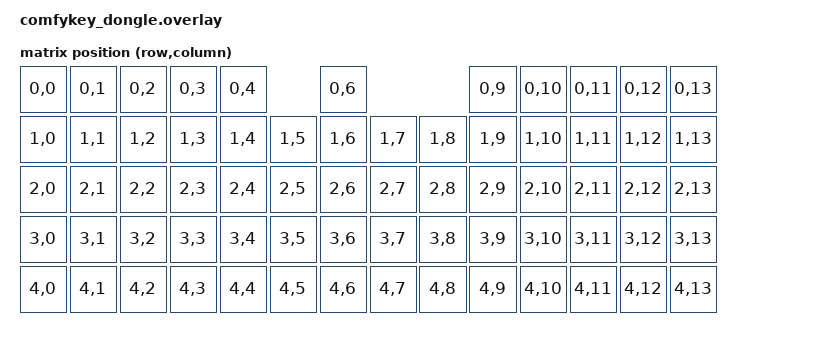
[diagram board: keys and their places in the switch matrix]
#include <dt-bindings/zmk/matrix_transform.h>
#include <physical_layouts.dtsi>

/ {
    chosen {
        zmk,kscan = &mock_kscan;
        zmk,physical-layout = &physical_layout0;
    };

    mock_kscan: kscan_0 {
        compatible = "zmk,kscan-mock";
        columns = <0>;
        rows = <0>;
        events = <0>;
    };

    default_transform: keymap_transform_0 {
        compatible = "zmk,matrix-transform";
        columns = <14>;
        rows = <5>;
// | SW1  | SW2  | SW3  | SW4  | SW5  | SW6  |                     | SW6  | SW5  | SW4  | SW3  | SW2  | SW1  |
// | SW7  | SW8  | SW9  | SW10 | SW11 | SW12 | SW13 |       | SW13 | SW12 | SW11 | SW10 | SW9  | SW8  | SW7  |
// | SW14 | SW15 | SW16 | SW17 | SW18 | SW19 | SW20 |       | SW20 | SW19 | SW18 | SW17 | SW16 | SW15 | SW14 |
// | SW19 | SW20 | SW21 | SW22 | SW23 | SW24 | SW25 |       | SW25 | SW24 | SW23 | SW22 | SW21 | SW20 | SW19 |
// | SW26 | SW27 | SW28 | SW29 | SW30 | SW31 | SW32 |       | SW32 | SW31 | SW30 | SW29 | SW28 | SW27 | SW26 |
        map = <
RC(0,0) RC(0,1) RC(0,2) RC(0,3) RC(0,4)         RC(0,6)  C(0,7)         RC(0,9) RC(0,10) RC(0,11) RC(0,12) RC(0,13)
RC(1,0) RC(1,1) RC(1,2) RC(1,3) RC(1,4) RC(1,5) RC(1,6) RC(1,7) RC(1,8) RC(1,9) RC(1,10) RC(1,11) RC(1,12) RC(1,13)
RC(2,0) RC(2,1) RC(2,2) RC(2,3) RC(2,4) RC(2,5) RC(2,6) RC(2,7) RC(2,8) RC(2,9) RC(2,10) RC(2,11) RC(2,12) RC(2,13)
RC(3,0) RC(3,1) RC(3,2) RC(3,3) RC(3,4) RC(3,5) RC(3,6) RC(3,7) RC(3,8) RC(3,9) RC(3,10) RC(3,11) RC(3,12) RC(3,13)
RC(4,0) RC(4,1) RC(4,2) RC(4,3) RC(4,4) RC(4,5) RC(4,6) RC(4,7) RC(4,8) RC(4,9) RC(4,10) RC(4,11) RC(4,12) RC(4,13)
        >;
    };
    
    physical_layout0: physical_layout_0 {
        compatible = "zmk,physical-layout";
        display-name = "Default";
        transform = <&default_transform>;
        keys  //                     w   h    x    y     rot    rx    ry
            = <&key_physical_attrs 100 100   50  400       0     0     0>
            , <&key_physical_attrs 100 100   50  800       0     0     0>
            , <&key_physical_attrs 100 100  300  400       0     0     0>
            , <&key_physical_attrs 100 100  300  800       0     0     0>
            , <&key_physical_attrs 100 100  450  450       0     0     0>
            , <&key_physical_attrs 100 100  450  800       0     0     0>
            , <&key_physical_attrs 100 100 1250  800       0     0     0>
            , <&key_physical_attrs 100 100 1250  450       0     0     0>
            , <&key_physical_attrs 100 100 1400  800       0     0     0>
            , <&key_physical_attrs 100 100 1400  400       0     0     0>
            , <&key_physical_attrs 100 100 1650  800       0     0     0>
            , <&key_physical_attrs 100 100 1650  400       0     0     0>
            , <&key_physical_attrs 100 100  100  300       0     0     0>
            , <&key_physical_attrs 100 100  200  400       0     0     0>
            , <&key_physical_attrs 100 100  300  300       0     0     0>
            , <&key_physical_attrs 100 100  200  800       0     0     0>
            , <&key_physical_attrs 100 100  450  550       0     0     0>
            , <&key_physical_attrs 100 100  600  400       0     0     0>
            , <&key_physical_attrs 100 100  650  700       0     0     0>
            , <&key_physical_attrs 100 100  950  700       0     0     0>
            , <&key_physical_attrs 100 100 1100  400       0     0     0>
            , <&key_physical_attrs 100 100 1250  550       0     0     0>
            , <&key_physical_attrs 100 100 1500  800       0     0     0>
            , <&key_physical_attrs 100 100 1400  300       0     0     0>
            , <&key_physical_attrs 100 100 1500  400       0     0     0>
            , <&key_physical_attrs 100 100 1600  300       0     0     0>
            , <&key_physical_attrs 100 100  100  200       0     0     0>
            , <&key_physical_attrs 100 100  200  300       0     0     0>
            , <&key_physical_attrs 100 100  300  200       0     0     0>
            , <&key_physical_attrs 100 100  500  300       0     0     0>
            , <&key_physical_attrs 100 100  550  550       0     0     0>
            , <&key_physical_attrs 100 100  600  300       0     0     0>
            , <&key_physical_attrs 100 100  750  700       0     0     0>
            , <&key_physical_attrs 100 100 1050  700       0     0     0>
            , <&key_physical_attrs 100 100 1100  300       0     0     0>
            , <&key_physical_attrs 100 100 1150  550       0     0     0>
            , <&key_physical_attrs 100 100 1200  300       0     0     0>
            , <&key_physical_attrs 100 100 1400  200       0     0     0>
            , <&key_physical_attrs 100 100 1500  300       0     0     0>
            , <&key_physical_attrs 100 100 1700  200       0     0     0>
            , <&key_physical_attrs 100 100    0  200       0     0     0>
            , <&key_physical_attrs 100 100  200  200       0     0     0>
            , <&key_physical_attrs 100 100  300  100       0     0     0>
            , <&key_physical_attrs 100 100  500  200       0     0     0>
            , <&key_physical_attrs 100 100  450  650       0     0     0>
            , <&key_physical_attrs 100 100  600  200       0     0     0>
            , <&key_physical_attrs 100 100  750  800       0     0     0>
            , <&key_physical_attrs 100 100  950  800       0     0     0>
            , <&key_physical_attrs 100 100 1100  200       0     0     0>
            , <&key_physical_attrs 100 100 1250  650       0     0     0>
            , <&key_physical_attrs 100 100 1200  200       0     0     0>
            , <&key_physical_attrs 100 100 1400  100       0     0     0>
            , <&key_physical_attrs 100 100 1500  200       0     0     0>
            , <&key_physical_attrs 100 100 1600  200       0     0     0>
            , <&key_physical_attrs 100 100    0  300       0     0     0>
            , <&key_physical_attrs 100 100  200  100       0     0     0>
            , <&key_physical_attrs 100 100  300    0       0     0     0>
            , <&key_physical_attrs 100 100  500  100       0     0     0>
            , <&key_physical_attrs 100 100  350  550       0     0     0>
            , <&key_physical_attrs 100 100  600  100       0     0     0>
            , <&key_physical_attrs 100 100  650  800       0     0     0>
            , <&key_physical_attrs 100 100 1050  800       0     0     0>
            , <&key_physical_attrs 100 100 1100  100       0     0     0>
            , <&key_physical_attrs 100 100 1350  550       0     0     0>
            , <&key_physical_attrs 100 100 1200  100       0     0     0>
            , <&key_physical_attrs 100 100 1400    0       0     0     0>
            , <&key_physical_attrs 100 100 1500  100       0     0     0>
            , <&key_physical_attrs 100 100 1700  300       0     0     0>
            ;
    };
};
